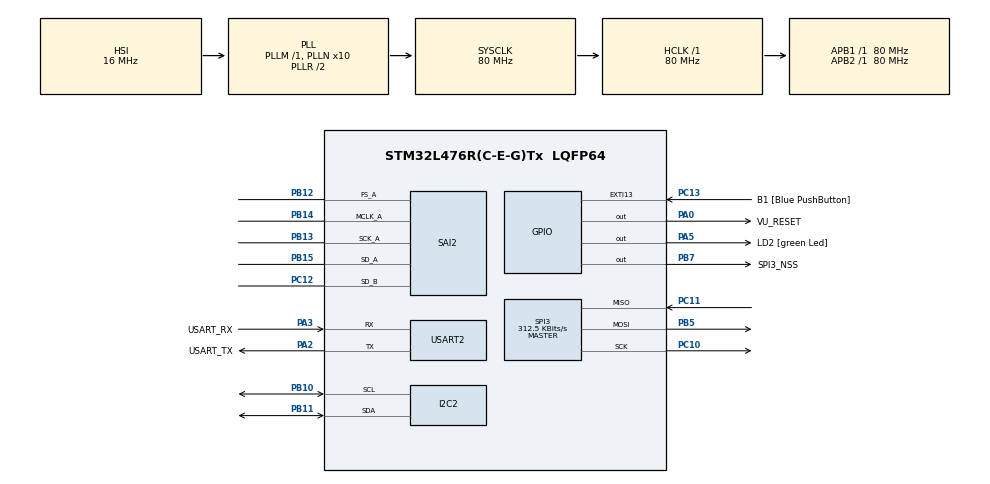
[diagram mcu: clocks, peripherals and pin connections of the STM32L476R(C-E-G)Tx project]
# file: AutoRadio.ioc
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Dma.Request0=SAI2_A
Dma.Request1=SAI2_B
Dma.SAI2_A.0.Direction=DMA_MEMORY_TO_PERIPH
Dma.SAI2_A.0.Instance=DMA1_Channel6
Dma.SAI2_A.0.MemDataAlignment=DMA_MDATAALIGN_HALFWORD
Dma.SAI2_A.0.MemInc=DMA_MINC_ENABLE
Dma.SAI2_A.0.Mode=DMA_CIRCULAR
Dma.SAI2_A.0.PeriphDataAlignment=DMA_PDATAALIGN_HALFWORD
Dma.SAI2_A.0.PeriphInc=DMA_PINC_DISABLE
Dma.SAI2_A.0.Priority=DMA_PRIORITY_LOW
Dma.SAI2_B.1.Direction=DMA_PERIPH_TO_MEMORY
Dma.SAI2_B.1.Instance=DMA1_Channel7
Dma.SAI2_B.1.MemDataAlignment=DMA_MDATAALIGN_WORD
Dma.SAI2_B.1.MemInc=DMA_MINC_ENABLE
Dma.SAI2_B.1.Mode=DMA_CIRCULAR
Dma.SAI2_B.1.PeriphDataAlignment=DMA_PDATAALIGN_WORD
Dma.SAI2_B.1.PeriphInc=DMA_PINC_DISABLE
Dma.SAI2_B.1.Priority=DMA_PRIORITY_LOW
FREERTOS.Tasks01=defaultTask,0,128,StartDefaultTask,Default,NULL,Dynamic,NULL,NULL
FREERTOS.configTOTAL_HEAP_SIZE=20000
FREERTOS.configUSE_NEWLIB_REENTRANT=1
I2C2.Timing=0x10D19CE4
Mcu.Family=STM32L4
Mcu.Name=STM32L476R(C-E-G)Tx
Mcu.Package=LQFP64
NVIC.DMA1_Channel6_IRQn=true\:5\:0\:false\:false\:true\:true\:false\:true\:true
NVIC.DMA1_Channel7_IRQn=true\:5\:0\:false\:false\:true\:true\:false\:true\:true
NVIC.PriorityGroup=NVIC_PRIORITYGROUP_4
NVIC.TIM1_UP_TIM16_IRQn=true\:15\:0\:false\:false\:true\:false\:false\:true\:true
NVIC.TimeBase=TIM1_UP_TIM16_IRQn
NVIC.TimeBaseIP=TIM16
NVIC.USART2_IRQn=true\:5\:0\:false\:false\:true\:true\:true\:true\:true
PA0.GPIO_Label=VU_RESET
PA0.PinState=GPIO_PIN_SET
PA0.Signal=GPIO_Output
PA13\ (JTMS-SWDIO).GPIO_Label=TMS
PA13\ (JTMS-SWDIO).Mode=Trace_Asynchronous_SW
PA13\ (JTMS-SWDIO).Signal=SYS_JTMS-SWDIO
PA14\ (JTCK-SWCLK).GPIO_Label=TCK
PA14\ (JTCK-SWCLK).Mode=Trace_Asynchronous_SW
PA14\ (JTCK-SWCLK).Signal=SYS_JTCK-SWCLK
PA2.GPIO_Label=USART_TX
PA2.GPIO_Mode=GPIO_MODE_AF_PP
PA2.GPIO_PuPd=GPIO_NOPULL
PA2.GPIO_Speed=GPIO_SPEED_FREQ_VERY_HIGH
PA2.Mode=Asynchronous
PA2.Signal=USART2_TX
PA3.GPIO_Label=USART_RX
PA3.GPIO_Mode=GPIO_MODE_AF_PP
PA3.GPIO_PuPd=GPIO_NOPULL
PA3.GPIO_Speed=GPIO_SPEED_FREQ_VERY_HIGH
PA3.Mode=Asynchronous
PA3.Signal=USART2_RX
PA5.GPIO_Label=LD2 [green Led]
PA5.GPIO_ModeDefaultOutputPP=GPIO_MODE_OUTPUT_PP
PA5.GPIO_PuPd=GPIO_NOPULL
PA5.GPIO_Speed=GPIO_SPEED_FREQ_LOW
PA5.Signal=GPIO_Output
PB10.Mode=I2C
PB10.Signal=I2C2_SCL
PB11.Mode=I2C
PB11.Signal=I2C2_SDA
PB12.Mode=SAI_A_MasterWithClock
PB12.Signal=SAI2_FS_A
PB13.Mode=SAI_A_MasterWithClock
PB13.Signal=SAI2_SCK_A
PB14.Mode=SAI_A_MasterWithClock
PB14.Signal=SAI2_MCLK_A
PB15.Mode=SAI_A_MasterWithClock
PB15.Signal=SAI2_SD_A
PB3\ (JTDO-TRACESWO).GPIO_Label=SWO
PB3\ (JTDO-TRACESWO).Mode=Trace_Asynchronous_SW
PB3\ (JTDO-TRACESWO).Signal=SYS_JTDO-SWO
PB5.Mode=Full_Duplex_Master
PB5.Signal=SPI3_MOSI
PB7.GPIO_Label=SPI3_NSS
PB7.PinState=GPIO_PIN_SET
PB7.Signal=GPIO_Output
PC10.Mode=Full_Duplex_Master
PC10.Signal=SPI3_SCK
PC11.Mode=Full_Duplex_Master
PC11.Signal=SPI3_MISO
PC12.Mode=SAI_B_SyncSlave
PC12.Signal=SAI2_SD_B
PC13.GPIO_Label=B1 [Blue PushButton]
PC13.GPIO_ModeDefaultEXTI=GPIO_MODE_IT_FALLING
PC13.GPIO_PuPd=GPIO_NOPULL
PC13.Signal=GPXTI13
PC14-OSC32_IN\ (PC14).Signal=RCC_OSC32_IN
PC15-OSC32_OUT\ (PC15).Signal=RCC_OSC32_OUT
PH0-OSC_IN\ (PH0).Mode=HSE-External-Oscillator
PH0-OSC_IN\ (PH0).Signal=RCC_OSC_IN
PH1-OSC_OUT\ (PH1).Mode=HSE-External-Oscillator
PH1-OSC_OUT\ (PH1).Signal=RCC_OSC_OUT
ProjectManager.HeapSize=0x200
ProjectManager.StackSize=0x400
ProjectManager.TargetToolchain=STM32CubeIDE
RCC.ADCFreq_Value=104000000
RCC.AHBFreq_Value=80000000
RCC.APB1Freq_Value=80000000
RCC.APB1TimFreq_Value=80000000
RCC.APB2Freq_Value=80000000
RCC.APB2TimFreq_Value=80000000
RCC.CortexFreq_Value=80000000
RCC.HCLKFreq_Value=80000000
RCC.HSE_VALUE=8000000
RCC.HSI_VALUE=16000000
RCC.LSE_VALUE=32768
RCC.MSI_VALUE=4000000
RCC.PLLN=10
RCC.PLLSAI1N=13
RCC.PLLSAI1P=RCC_PLLP_DIV17
RCC.PLLSourceVirtual=RCC_PLLSOURCE_HSI
RCC.PREFETCH_ENABLE=1
RCC.SYSCLKFreq_VALUE=80000000
RCC.SYSCLKSource=RCC_SYSCLKSOURCE_PLLCLK
RCC.USBFreq_Value=104000000
RCC.VCOOutputFreq_Value=160000000
SAI2.AudioFrequency-SAI_A_MasterWithClock=SAI_AUDIO_FREQUENCY_48K
SAI2.ErrorAudioFreq-SAI_A_MasterWithClock=-0.42 %
SAI2.InitProtocol-SAI_A_MasterWithClock=Enable
SAI2.InitProtocol-SAI_B_SyncSlave=Enable
SAI2.Instance-SAI_A_MasterWithClock=SAI$Index_Block_A
SAI2.Instance-SAI_B_SyncSlave=SAI$Index_Block_B
SAI2.MClockEnable-SAI_A_MasterWithClock=SAI_MASTERCLOCK_ENABLE
SAI2.RealAudioFreq-SAI_A_MasterWithClock=47.794 KHz
SAI2.VirtualMode-SAI_A_MasterWithClock=VM_MASTER
SAI2.VirtualMode-SAI_B_SyncSlave=VM_SLAVE
SAI2.VirtualProtocol-SAI_A_BASIC=VM_BASIC_PROTOCOL
SAI2.VirtualProtocol-SAI_B_BASIC=VM_BASIC_PROTOCOL
SPI3.BaudRatePrescaler=SPI_BAUDRATEPRESCALER_256
SPI3.CLKPhase=SPI_PHASE_1EDGE
SPI3.CalculateBaudRate=312.5 KBits/s
SPI3.DataSize=SPI_DATASIZE_8BIT
SPI3.Direction=SPI_DIRECTION_2LINES
SPI3.Mode=SPI_MODE_MASTER
SPI3.VirtualType=VM_MASTER
USART2.VirtualMode-Asynchronous=VM_ASYNC
VP_FREERTOS_VS_CMSIS_V1.Mode=CMSIS_V1
VP_SAI2_VP_$IpInstance_SAIA_SAI_BASIC.Mode=SAI_A_BASIC
VP_SAI2_VP_$IpInstance_SAIB_SAI_BASIC.Mode=SAI_B_BASIC
VP_SYS_VS_tim16.Mode=TIM16
board=NUCLEO-L476RG

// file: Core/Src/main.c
/* USER CODE BEGIN Header */
/**
 ******************************************************************************
 * @file           : main.c
 * @brief          : Main program body
 ******************************************************************************
 * @attention
 *
 * Copyright (c) 2024 STMicroelectronics.
 * All rights reserved.
 *
 * This software is licensed under terms that can be found in the LICENSE file
 * in the root directory of this software component.
 * If no LICENSE file comes with this software, it is provided AS-IS.
 *
 ******************************************************************************
 */
/* USER CODE END Header */
#include "main.h"
#include "cmsis_os.h"
#include "dma.h"
#include "i2c.h"
#include "sai.h"
#include "spi.h"
#include "usart.h"
#include "gpio.h"

/* USER CODE BEGIN Includes */
#include "shell.h"
#include "components/SGTL5000.h"
#include "components/MCP23S17.h"
#include "vu.h"

/* USER CODE END Includes */

/* USER CODE BEGIN PTD */

uint16_t data_SAI_rx[SIZE_SAI_BUFFER];

/* USER CODE END PTD */

/* USER CODE BEGIN PD */

#define GENERATOR 1
#define SWITCHER 2
#define MODE SWITCHER
//#define MODE GENERATOR

/* USER CODE END PD */

/* USER CODE BEGIN PM */
#define TASK_STACK_DEPTH_SHELL 2048
#define TASK_PRIORITY_SHELL 3
#define TASK_STACK_DEPTH_VU 512
#define TASK_PRIORITY_VU 4
/* USER CODE END PM */

/* USER CODE BEGIN PV */
TaskHandle_t h_task_shell = NULL;
TaskHandle_t h_task_vu = NULL;
/* USER CODE END PV */

void SystemClock_Config(void);
void PeriphCommonClock_Config(void);
void MX_FREERTOS_Init(void);

int main(void)
{

  /* MCU Configuration--------------------------------------------------------*/

  /* Reset of all peripherals, Initializes the Flash interface and the Systick. */
  HAL_Init();

  /* Configure the system clock */
  SystemClock_Config();

  /* Configure the peripherals common clocks */
  PeriphCommonClock_Config();

  /* Initialize all configured peripherals */
  MX_GPIO_Init();
  MX_DMA_Init();
  MX_USART2_UART_Init();
  MX_SPI3_Init();
  MX_I2C2_Init();
  MX_SAI2_Init();
  /* USER CODE BEGIN 2 */
	shell_init();
	sgtl5000_init();
	xTaskCreate(shell_run,	"Shell", TASK_STACK_DEPTH_SHELL, NULL, TASK_PRIORITY_SHELL, &h_task_shell) != pdPASS ? Error_Handler():(void)0;
	xTaskCreate(vu_run,	"VU", TASK_STACK_DEPTH_VU, NULL, TASK_PRIORITY_VU, &h_task_vu) != pdPASS ? Error_Handler():(void)0;

#ifdef MODE
	#if MODE == GENERATOR
    for (int i = 0; i < SIZE_SAI_BUFFER / 2; i++) {
        // Montée du triangle
        data_SAI_rx[i] = (uint16_t)((float)i / (SIZE_SAI_BUFFER / 2) * UINT16_MAX);
    }
    for (int i = SIZE_SAI_BUFFER / 2; i < SIZE_SAI_BUFFER; i++) {
        // Descente du triangle
        data_SAI_rx[i] = (uint16_t)((float)(SIZE_SAI_BUFFER - i) / (SIZE_SAI_BUFFER / 2) * UINT16_MAX);
    }
	__HAL_SAI_ENABLE(&hsai_BlockA2);
	HAL_SAI_Transmit_DMA(&hsai_BlockA2, (uint8_t*)data_SAI_rx, SIZE_SAI_BUFFER);
	#elif MODE == SWITCHER
		__HAL_SAI_ENABLE(&hsai_BlockB2);
		__HAL_SAI_ENABLE(&hsai_BlockA2);
		HAL_SAI_Receive_DMA(&hsai_BlockB2, (uint8_t*)data_SAI_rx, SIZE_SAI_BUFFER);
		HAL_SAI_Transmit_DMA(&hsai_BlockA2, (uint8_t*)data_SAI_rx, SIZE_SAI_BUFFER);
	#endif
#endif
	/* USER CODE END 2 */

  /* Call init function for freertos objects (in cmsis_os2.c) */
  MX_FREERTOS_Init();

  /* Start scheduler */
  osKernelStart();

  /* We should never get here as control is now taken by the scheduler */

  /* Infinite loop */
	while (1)
	{

	}
}

void SystemClock_Config(void)
{
  RCC_OscInitTypeDef RCC_OscInitStruct = {0};
  RCC_ClkInitTypeDef RCC_ClkInitStruct = {0};

  /** Configure the main internal regulator output voltage
  */
  if (HAL_PWREx_ControlVoltageScaling(PWR_REGULATOR_VOLTAGE_SCALE1) != HAL_OK)
  {
    Error_Handler();
  }

  /** Initializes the RCC Oscillators according to the specified parameters
  * in the RCC_OscInitTypeDef structure.
  */
  RCC_OscInitStruct.OscillatorType = RCC_OSCILLATORTYPE_HSI;
  RCC_OscInitStruct.HSIState = RCC_HSI_ON;
  RCC_OscInitStruct.HSICalibrationValue = RCC_HSICALIBRATION_DEFAULT;
  RCC_OscInitStruct.PLL.PLLState = RCC_PLL_ON;
  RCC_OscInitStruct.PLL.PLLSource = RCC_PLLSOURCE_HSI;
  RCC_OscInitStruct.PLL.PLLM = 1;
  RCC_OscInitStruct.PLL.PLLN = 10;
  RCC_OscInitStruct.PLL.PLLP = RCC_PLLP_DIV7;
  RCC_OscInitStruct.PLL.PLLQ = RCC_PLLQ_DIV2;
  RCC_OscInitStruct.PLL.PLLR = RCC_PLLR_DIV2;
  if (HAL_RCC_OscConfig(&RCC_OscInitStruct) != HAL_OK)
  {
    Error_Handler();
  }

  /** Initializes the CPU, AHB and APB buses clocks
  */
  RCC_ClkInitStruct.ClockType = RCC_CLOCKTYPE_HCLK|RCC_CLOCKTYPE_SYSCLK
                              |RCC_CLOCKTYPE_PCLK1|RCC_CLOCKTYPE_PCLK2;
  RCC_ClkInitStruct.SYSCLKSource = RCC_SYSCLKSOURCE_PLLCLK;
  RCC_ClkInitStruct.AHBCLKDivider = RCC_SYSCLK_DIV1;
  RCC_ClkInitStruct.APB1CLKDivider = RCC_HCLK_DIV1;
  RCC_ClkInitStruct.APB2CLKDivider = RCC_HCLK_DIV1;

  if (HAL_RCC_ClockConfig(&RCC_ClkInitStruct, FLASH_LATENCY_4) != HAL_OK)
  {
    Error_Handler();
  }
}

void PeriphCommonClock_Config(void)
{
  RCC_PeriphCLKInitTypeDef PeriphClkInit = {0};

  /** Initializes the peripherals clock
  */
  PeriphClkInit.PeriphClockSelection = RCC_PERIPHCLK_SAI2;
  PeriphClkInit.Sai2ClockSelection = RCC_SAI2CLKSOURCE_PLLSAI1;
  PeriphClkInit.PLLSAI1.PLLSAI1Source = RCC_PLLSOURCE_HSI;
  PeriphClkInit.PLLSAI1.PLLSAI1M = 1;
  PeriphClkInit.PLLSAI1.PLLSAI1N = 13;
  PeriphClkInit.PLLSAI1.PLLSAI1P = RCC_PLLP_DIV17;
  PeriphClkInit.PLLSAI1.PLLSAI1Q = RCC_PLLQ_DIV2;
  PeriphClkInit.PLLSAI1.PLLSAI1R = RCC_PLLR_DIV2;
  PeriphClkInit.PLLSAI1.PLLSAI1ClockOut = RCC_PLLSAI1_SAI1CLK;
  if (HAL_RCCEx_PeriphCLKConfig(&PeriphClkInit) != HAL_OK)
  {
    Error_Handler();
  }
}

void HAL_TIM_PeriodElapsedCallback(TIM_HandleTypeDef *htim)
{
  if (htim->Instance == TIM16) {
    HAL_IncTick();
  }
}

void Error_Handler(void)
{
	__disable_irq();
	while (1)
	{
	}
}
